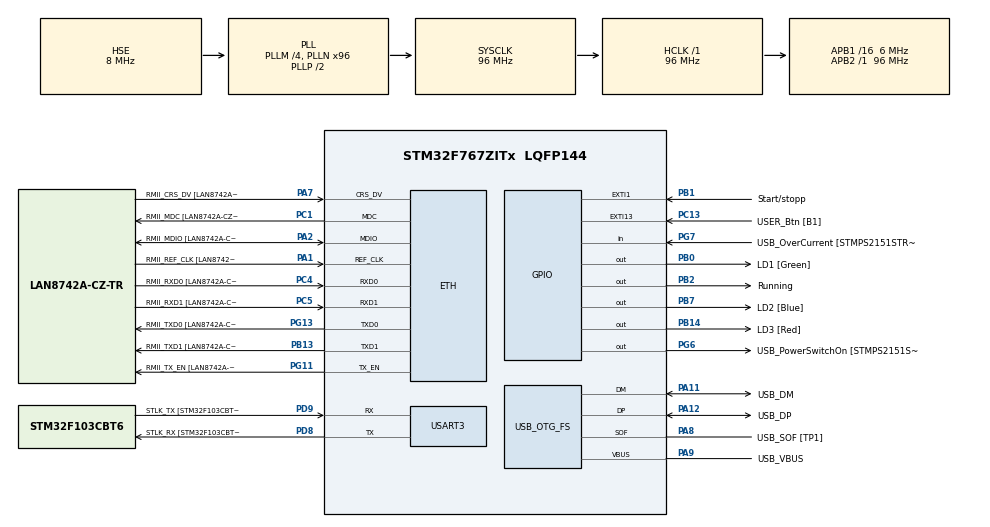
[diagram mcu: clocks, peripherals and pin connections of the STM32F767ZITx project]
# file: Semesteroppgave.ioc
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ETH.MediaInterface=HAL_ETH_RMII_MODE
ETH.PHY_Name=LAN8742A_PHY_ADDRESS
ETH.PHY_Value=0
ETH.PhyAddress=0
Mcu.Family=STM32F7
Mcu.Name=STM32F767ZITx
Mcu.Package=LQFP144
NVIC.EXTI15_10_IRQn=true\:0\:0\:false\:false\:true\:true\:true\:true
NVIC.EXTI1_IRQn=true\:0\:0\:false\:false\:true\:true\:true\:true
NVIC.PriorityGroup=NVIC_PRIORITYGROUP_4
NVIC.TIM3_IRQn=true\:0\:0\:false\:false\:true\:true\:true\:true
PA1.GPIO_Label=RMII_REF_CLK [LAN8742A-CZ-TR_REFCLK0]
PA1.Mode=RMII
PA1.Signal=ETH_REF_CLK
PA10.GPIO_Label=USB_ID
PA10.Signal=USB_OTG_FS_ID
PA11.GPIO_Label=USB_DM
PA11.Mode=Device_Only
PA11.Signal=USB_OTG_FS_DM
PA12.GPIO_Label=USB_DP
PA12.Mode=Device_Only
PA12.Signal=USB_OTG_FS_DP
PA13.GPIO_Label=TMS
PA13.Mode=Serial_Wire
PA13.Signal=SYS_JTMS-SWDIO
PA14.GPIO_Label=TCK
PA14.Mode=Serial_Wire
PA14.Signal=SYS_JTCK-SWCLK
PA2.GPIO_Label=RMII_MDIO [LAN8742A-CZ-TR_MDIO]
PA2.Mode=RMII
PA2.Signal=ETH_MDIO
PA7.GPIO_Label=RMII_CRS_DV [LAN8742A-CZ-TR_CRS_DV]
PA7.Mode=RMII
PA7.Signal=ETH_CRS_DV
PA8.GPIO_Label=USB_SOF [TP1]
PA8.Mode=Activate_SOF_FS
PA8.Signal=USB_OTG_FS_SOF
PA9.GPIO_Label=USB_VBUS
PA9.Mode=Activate_VBUS
PA9.Signal=USB_OTG_FS_VBUS
PB0.GPIO_Label=LD1 [Green]
PB0.Signal=GPIO_Output
PB1.GPIO_Label=Start/stopp
PB1.GPIO_ModeDefaultEXTI=GPIO_MODE_IT_RISING
PB1.GPIO_PuPd=GPIO_PULLDOWN
PB1.Signal=GPXTI1
PB13.GPIO_Label=RMII_TXD1 [LAN8742A-CZ-TR_TXD1]
PB13.Mode=RMII
PB13.Signal=ETH_TXD1
PB14.GPIO_Label=LD3 [Red]
PB14.Signal=GPIO_Output
PB2.GPIO_Label=Running
PB2.Signal=GPIO_Output
PB3.GPIO_Label=SWO
PB3.Signal=SYS_JTDO-SWO
PB7.GPIO_Label=LD2 [Blue]
PB7.Signal=GPIO_Output
PC1.GPIO_Label=RMII_MDC [LAN8742A-CZ-TR_MDC]
PC1.Mode=RMII
PC1.Signal=ETH_MDC
PC13.GPIO_Label=USER_Btn [B1]
PC13.Signal=GPXTI13
PC14/OSC32_IN.Mode=LSE-External-Oscillator
PC14/OSC32_IN.Signal=RCC_OSC32_IN
PC15/OSC32_OUT.Mode=LSE-External-Oscillator
PC15/OSC32_OUT.Signal=RCC_OSC32_OUT
PC4.GPIO_Label=RMII_RXD0 [LAN8742A-CZ-TR_RXD0]
PC4.Mode=RMII
PC4.Signal=ETH_RXD0
PC5.GPIO_Label=RMII_RXD1 [LAN8742A-CZ-TR_RXD1]
PC5.Mode=RMII
PC5.Signal=ETH_RXD1
PD8.GPIO_Label=STLK_RX [STM32F103CBT6_PA3]
PD8.Mode=Asynchronous
PD8.Signal=USART3_TX
PD9.GPIO_Label=STLK_TX [STM32F103CBT6_PA2]
PD9.Mode=Asynchronous
PD9.Signal=USART3_RX
PG11.GPIO_Label=RMII_TX_EN [LAN8742A-CZ-TR_TXEN]
PG11.Mode=RMII
PG11.Signal=ETH_TX_EN
PG13.GPIO_Label=RMII_TXD0 [LAN8742A-CZ-TR_TXD0]
PG13.Mode=RMII
PG13.Signal=ETH_TXD0
PG6.GPIO_Label=USB_PowerSwitchOn [STMPS2151STR_EN]
PG6.Signal=GPIO_Output
PG7.GPIO_Label=USB_OverCurrent [STMPS2151STR_FAULT]
PG7.Signal=GPIO_Input
PH0/OSC_IN.GPIO_Label=MCO [STM32F103CBT6_PA8]
PH0/OSC_IN.Mode=HSE-External-Clock-Source
PH0/OSC_IN.Signal=RCC_OSC_IN
PH1/OSC_OUT.Mode=HSE-External-Clock-Source
PH1/OSC_OUT.Signal=RCC_OSC_OUT
ProjectManager.HeapSize=0x200
ProjectManager.StackSize=0x400
ProjectManager.TargetToolchain=STM32CubeIDE
RCC.48MHZClocksFreq_Value=24000000
RCC.AHBFreq_Value=96000000
RCC.APB1CLKDivider=RCC_HCLK_DIV16
RCC.APB1Freq_Value=6000000
RCC.APB1TimFreq_Value=12000000
RCC.APB2Freq_Value=96000000
RCC.APB2TimFreq_Value=96000000
RCC.CortexFreq_Value=96000000
RCC.HCLKFreq_Value=96000000
RCC.HSE_VALUE=8000000
RCC.HSI_VALUE=16000000
RCC.PLLM=4
RCC.PLLMUL=RCC_PLL_MUL9
RCC.PLLN=96
RCC.PLLQ=4
RCC.PRESCALERUSB=RCC_USBCLKSOURCE_PLL_DIV1_5
RCC.SYSCLKFreq_VALUE=96000000
RCC.SYSCLKSource=RCC_SYSCLKSOURCE_PLLCLK
RCC.SYSCLKSourceVirtual=RCC_SYSCLKSOURCE_PLLCLK
RCC.USBFreq_Value=48000000
RCC.VCOOutputFreq_Value=192000000
TIM3.Period=59999
TIM3.Prescaler=10799
USART3.VirtualMode-Asynchronous=VM_ASYNC
USB_OTG_FS.VirtualMode=Device_Only
VP_TIM3_VS_ClockSourceINT.Mode=Internal
board=NUCLEO-F767ZI

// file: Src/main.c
/* USER CODE BEGIN Header */
/**
 ******************************************************************************
 * @file           : main.c
 * @brief          : Main program body
 ******************************************************************************
 * @attention
 *
 * Copyright (c) 2025 STMicroelectronics.
 * All rights reserved.
 *
 * This software is licensed under terms that can be found in the LICENSE file
 * in the root directory of this software component.
 * If no LICENSE file comes with this software, it is provided AS-IS.
 *
 ******************************************************************************
 */
/* USER CODE END Header */
#include "main.h"
#include "string.h"

#if defined(__ICCARM__) /*!< IAR Compiler */
#pragma location = 0x2007c000
ETH_DMADescTypeDef DMARxDscrTab[ETH_RX_DESC_CNT]; /* Ethernet Rx DMA Descriptors */
#pragma location = 0x2007c0a0
ETH_DMADescTypeDef DMATxDscrTab[ETH_TX_DESC_CNT]; /* Ethernet Tx DMA Descriptors */

#elif defined(__CC_ARM) /* MDK ARM Compiler */

__attribute__((at(0x2007c000))) ETH_DMADescTypeDef DMARxDscrTab[ETH_RX_DESC_CNT]; /* Ethernet Rx DMA Descriptors */
__attribute__((at(0x2007c0a0))) ETH_DMADescTypeDef DMATxDscrTab[ETH_TX_DESC_CNT]; /* Ethernet Tx DMA Descriptors */

#elif defined(__GNUC__) /* GNU Compiler */

ETH_DMADescTypeDef DMARxDscrTab[ETH_RX_DESC_CNT] __attribute__((section(".RxDecripSection"))); /* Ethernet Rx DMA Descriptors */
ETH_DMADescTypeDef DMATxDscrTab[ETH_TX_DESC_CNT] __attribute__((section(".TxDecripSection"))); /* Ethernet Tx DMA Descriptors */
#endif

ETH_TxPacketConfig TxConfig;

ETH_HandleTypeDef heth;

TIM_HandleTypeDef htim3;

UART_HandleTypeDef huart3;

PCD_HandleTypeDef hpcd_USB_OTG_FS;

/* USER CODE BEGIN PV */

volatile uint32_t start_tid;
volatile uint32_t stopp_tid;
volatile int stopp_sekvens;
volatile int Web_status;
volatile uint32_t elapsed = 0;
volatile uint32_t slutt_tid = 0;

/* USER CODE END PV */

void SystemClock_Config(void);
static void MX_GPIO_Init(void);
static void MX_ETH_Init(void);
static void MX_USART3_UART_Init(void);
static void MX_USB_OTG_FS_PCD_Init(void);
static void MX_TIM3_Init(void);

int main(void)
{

  /* MCU Configuration--------------------------------------------------------*/

  /* Reset of all peripherals, Initializes the Flash interface and the Systick. */
  HAL_Init();

  /* Configure the system clock */
  SystemClock_Config();

  /* Initialize all configured peripherals */
  MX_GPIO_Init();
  MX_ETH_Init();
  MX_USART3_UART_Init();
  MX_USB_OTG_FS_PCD_Init();
  MX_TIM3_Init();
  /* USER CODE BEGIN 2 */
  // Start timer 3
  HAL_TIM_Base_Start_IT(&htim3);
  /* USER CODE END 2 */

  /* Infinite loop */
  /* USER CODE BEGIN WHILE */
  while (1)
  {
    // Print to UART
    char buffer[200];
    snprintf(buffer, sizeof(buffer),
             "Press Button to start \r\n\r\n");
    HAL_UART_Transmit(&huart3, (uint8_t *)buffer, strlen(buffer), HAL_MAX_DELAY);
    Web_status = 1;
    stopp_sekvens = 0;

    while (1)
    {

      if (HAL_GPIO_ReadPin(GPIOB, Running_Pin) == GPIO_PIN_SET)
      {
        // Print to UART
        // Compute and print elapsed time (for debugging)
        // HER PLEIDE DELAY Å VÆRE PÅ BUNNEN: FORKLAR HVORFOR DETTE ER DUST.
        // HAL Delay bør være 2ms lavere enn hva man ønsker å sende ut. Jeg mistenker at det er forsinkelse i sendingen til UART. Dermed er 98ms = 100ms. 8ms = 10ms
        HAL_Delay(98);
        if (stopp_sekvens == 1)
        {
          break;
        }
        elapsed = HAL_GetTick() - start_tid;
        char buffer[200];
        snprintf(buffer, sizeof(buffer),
                 "Elapsed time %d \r\n",
                 elapsed);
        HAL_UART_Transmit(&huart3, (uint8_t *)buffer, strlen(buffer), HAL_MAX_DELAY);
      }
    }
    /* USER CODE END WHILE */
  }
}

void SystemClock_Config(void)
{
  RCC_OscInitTypeDef RCC_OscInitStruct = {0};
  RCC_ClkInitTypeDef RCC_ClkInitStruct = {0};

  /** Configure LSE Drive Capability
   */
  HAL_PWR_EnableBkUpAccess();

  /** Configure the main internal regulator output voltage
   */
  __HAL_RCC_PWR_CLK_ENABLE();
  __HAL_PWR_VOLTAGESCALING_CONFIG(PWR_REGULATOR_VOLTAGE_SCALE3);

  /** Initializes the RCC Oscillators according to the specified parameters
   * in the RCC_OscInitTypeDef structure.
   */
  RCC_OscInitStruct.OscillatorType = RCC_OSCILLATORTYPE_HSE;
  RCC_OscInitStruct.HSEState = RCC_HSE_BYPASS;
  RCC_OscInitStruct.PLL.PLLState = RCC_PLL_ON;
  RCC_OscInitStruct.PLL.PLLSource = RCC_PLLSOURCE_HSE;
  RCC_OscInitStruct.PLL.PLLM = 4;
  RCC_OscInitStruct.PLL.PLLN = 96;
  RCC_OscInitStruct.PLL.PLLP = RCC_PLLP_DIV2;
  RCC_OscInitStruct.PLL.PLLQ = 4;
  RCC_OscInitStruct.PLL.PLLR = 2;
  if (HAL_RCC_OscConfig(&RCC_OscInitStruct) != HAL_OK)
  {
    Error_Handler();
  }

  /** Activate the Over-Drive mode
   */
  if (HAL_PWREx_EnableOverDrive() != HAL_OK)
  {
    Error_Handler();
  }

  /** Initializes the CPU, AHB and APB buses clocks
   */
  RCC_ClkInitStruct.ClockType = RCC_CLOCKTYPE_HCLK | RCC_CLOCKTYPE_SYSCLK | RCC_CLOCKTYPE_PCLK1 | RCC_CLOCKTYPE_PCLK2;
  RCC_ClkInitStruct.SYSCLKSource = RCC_SYSCLKSOURCE_PLLCLK;
  RCC_ClkInitStruct.AHBCLKDivider = RCC_SYSCLK_DIV1;
  RCC_ClkInitStruct.APB1CLKDivider = RCC_HCLK_DIV16;
  RCC_ClkInitStruct.APB2CLKDivider = RCC_HCLK_DIV1;

  if (HAL_RCC_ClockConfig(&RCC_ClkInitStruct, FLASH_LATENCY_3) != HAL_OK)
  {
    Error_Handler();
  }
}

static void MX_ETH_Init(void)
{

  static uint8_t MACAddr[6];

  heth.Instance = ETH;
  MACAddr[0] = 0x00;
  MACAddr[1] = 0x80;
  MACAddr[2] = 0xE1;
  MACAddr[3] = 0x00;
  MACAddr[4] = 0x00;
  MACAddr[5] = 0x00;
  heth.Init.MACAddr = &MACAddr[0];
  heth.Init.MediaInterface = HAL_ETH_RMII_MODE;
  heth.Init.TxDesc = DMATxDscrTab;
  heth.Init.RxDesc = DMARxDscrTab;
  heth.Init.RxBuffLen = 1524;

  if (HAL_ETH_Init(&heth) != HAL_OK)
  {
    Error_Handler();
  }

  memset(&TxConfig, 0, sizeof(ETH_TxPacketConfig));
  TxConfig.Attributes = ETH_TX_PACKETS_FEATURES_CSUM | ETH_TX_PACKETS_FEATURES_CRCPAD;
  TxConfig.ChecksumCtrl = ETH_CHECKSUM_IPHDR_PAYLOAD_INSERT_PHDR_CALC;
  TxConfig.CRCPadCtrl = ETH_CRC_PAD_INSERT;
}

static void MX_TIM3_Init(void)
{

  TIM_ClockConfigTypeDef sClockSourceConfig = {0};
  TIM_MasterConfigTypeDef sMasterConfig = {0};

  htim3.Instance = TIM3;
  htim3.Init.Prescaler = 10985;
  htim3.Init.CounterMode = TIM_COUNTERMODE_UP;
  htim3.Init.Period = 65535;
  htim3.Init.ClockDivision = TIM_CLOCKDIVISION_DIV1;
  htim3.Init.AutoReloadPreload = TIM_AUTORELOAD_PRELOAD_DISABLE;
  if (HAL_TIM_Base_Init(&htim3) != HAL_OK)
  {
    Error_Handler();
  }
  sClockSourceConfig.ClockSource = TIM_CLOCKSOURCE_INTERNAL;
  if (HAL_TIM_ConfigClockSource(&htim3, &sClockSourceConfig) != HAL_OK)
  {
    Error_Handler();
  }
  sMasterConfig.MasterOutputTrigger = TIM_TRGO_RESET;
  sMasterConfig.MasterSlaveMode = TIM_MASTERSLAVEMODE_DISABLE;
  if (HAL_TIMEx_MasterConfigSynchronization(&htim3, &sMasterConfig) != HAL_OK)
  {
    Error_Handler();
  }
}

static void MX_USART3_UART_Init(void)
{

  huart3.Instance = USART3;
  huart3.Init.BaudRate = 115200;
  huart3.Init.WordLength = UART_WORDLENGTH_8B;
  huart3.Init.StopBits = UART_STOPBITS_1;
  huart3.Init.Parity = UART_PARITY_NONE;
  huart3.Init.Mode = UART_MODE_TX_RX;
  huart3.Init.HwFlowCtl = UART_HWCONTROL_NONE;
  huart3.Init.OverSampling = UART_OVERSAMPLING_16;
  huart3.Init.OneBitSampling = UART_ONE_BIT_SAMPLE_DISABLE;
  huart3.AdvancedInit.AdvFeatureInit = UART_ADVFEATURE_NO_INIT;
  if (HAL_UART_Init(&huart3) != HAL_OK)
  {
    Error_Handler();
  }
}

static void MX_USB_OTG_FS_PCD_Init(void)
{

  hpcd_USB_OTG_FS.Instance = USB_OTG_FS;
  hpcd_USB_OTG_FS.Init.dev_endpoints = 6;
  hpcd_USB_OTG_FS.Init.speed = PCD_SPEED_FULL;
  hpcd_USB_OTG_FS.Init.dma_enable = DISABLE;
  hpcd_USB_OTG_FS.Init.phy_itface = PCD_PHY_EMBEDDED;
  hpcd_USB_OTG_FS.Init.Sof_enable = ENABLE;
  hpcd_USB_OTG_FS.Init.low_power_enable = DISABLE;
  hpcd_USB_OTG_FS.Init.lpm_enable = DISABLE;
  hpcd_USB_OTG_FS.Init.vbus_sensing_enable = ENABLE;
  hpcd_USB_OTG_FS.Init.use_dedicated_ep1 = DISABLE;
  if (HAL_PCD_Init(&hpcd_USB_OTG_FS) != HAL_OK)
  {
    Error_Handler();
  }
}

static void MX_GPIO_Init(void)
{
  GPIO_InitTypeDef GPIO_InitStruct = {0};

  /* GPIO Ports Clock Enable */
  __HAL_RCC_GPIOC_CLK_ENABLE();
  __HAL_RCC_GPIOH_CLK_ENABLE();
  __HAL_RCC_GPIOA_CLK_ENABLE();
  __HAL_RCC_GPIOB_CLK_ENABLE();
  __HAL_RCC_GPIOD_CLK_ENABLE();
  __HAL_RCC_GPIOG_CLK_ENABLE();

  /*Configure GPIO pin Output Level */
  HAL_GPIO_WritePin(GPIOB, LD1_Pin | Running_Pin | LD3_Pin | LD2_Pin, GPIO_PIN_RESET);

  /*Configure GPIO pin Output Level */
  HAL_GPIO_WritePin(USB_PowerSwitchOn_GPIO_Port, USB_PowerSwitchOn_Pin, GPIO_PIN_RESET);

  /*Configure GPIO pin : USER_Btn_Pin */
  GPIO_InitStruct.Pin = USER_Btn_Pin;
  GPIO_InitStruct.Mode = GPIO_MODE_IT_RISING;
  GPIO_InitStruct.Pull = GPIO_NOPULL;
  HAL_GPIO_Init(USER_Btn_GPIO_Port, &GPIO_InitStruct);

  /*Configure GPIO pins : LD1_Pin Running_Pin LD3_Pin LD2_Pin */
  GPIO_InitStruct.Pin = LD1_Pin | Running_Pin | LD3_Pin | LD2_Pin;
  GPIO_InitStruct.Mode = GPIO_MODE_OUTPUT_PP;
  GPIO_InitStruct.Pull = GPIO_NOPULL;
  GPIO_InitStruct.Speed = GPIO_SPEED_FREQ_LOW;
  HAL_GPIO_Init(GPIOB, &GPIO_InitStruct);

  /*Configure GPIO pin : Start_stopp_Pin */
  GPIO_InitStruct.Pin = Start_stopp_Pin;
  GPIO_InitStruct.Mode = GPIO_MODE_IT_RISING;
  GPIO_InitStruct.Pull = GPIO_PULLDOWN;
  HAL_GPIO_Init(Start_stopp_GPIO_Port, &GPIO_InitStruct);

  /*Configure GPIO pin : USB_PowerSwitchOn_Pin */
  GPIO_InitStruct.Pin = USB_PowerSwitchOn_Pin;
  GPIO_InitStruct.Mode = GPIO_MODE_OUTPUT_PP;
  GPIO_InitStruct.Pull = GPIO_NOPULL;
  GPIO_InitStruct.Speed = GPIO_SPEED_FREQ_LOW;
  HAL_GPIO_Init(USB_PowerSwitchOn_GPIO_Port, &GPIO_InitStruct);

  /*Configure GPIO pin : USB_OverCurrent_Pin */
  GPIO_InitStruct.Pin = USB_OverCurrent_Pin;
  GPIO_InitStruct.Mode = GPIO_MODE_INPUT;
  GPIO_InitStruct.Pull = GPIO_NOPULL;
  HAL_GPIO_Init(USB_OverCurrent_GPIO_Port, &GPIO_InitStruct);

  /* EXTI interrupt init*/
  HAL_NVIC_SetPriority(EXTI1_IRQn, 0, 0);
  HAL_NVIC_EnableIRQ(EXTI1_IRQn);

  HAL_NVIC_SetPriority(EXTI15_10_IRQn, 0, 0);
  HAL_NVIC_EnableIRQ(EXTI15_10_IRQn);

}

/* USER CODE BEGIN 4 */
void HAL_TIM_PeriodElapsedCallback(TIM_HandleTypeDef *htim)
{
  if (Web_status == 1)
  {
    // Print to UART
    char buffer[200];
    snprintf(buffer, sizeof(buffer),
             "\r\n"
             "Web_Status \r\n"
             "Press button to start \r\n"
             "Last completed time was %d \r\n\r\n",
             slutt_tid);
    HAL_UART_Transmit(&huart3, (uint8_t *)buffer, strlen(buffer), HAL_MAX_DELAY);
  }
  if (Web_status == 2)
  {
    // Print to UART
    char buffer[200];
    snprintf(buffer, sizeof(buffer),
             "\r\n"
             "Web_Status \r\n"
             "Counting \r\n"
             "Current time is:  %d \r\n\r\n",
             elapsed);
    HAL_UART_Transmit(&huart3, (uint8_t *)buffer, strlen(buffer), HAL_MAX_DELAY);
  }
}

void HAL_GPIO_EXTI_Callback(uint16_t GPIO_Pin)
{
  // forhindrer at man får uønskede rising edges)
  static uint32_t last_interrupt_time = 0;
  if (HAL_GetTick() - last_interrupt_time < 200)
    return;
  last_interrupt_time = HAL_GetTick();

  if (GPIO_Pin == GPIO_PIN_1)
  {
    if (HAL_GPIO_ReadPin(GPIOB, Running_Pin) == GPIO_PIN_RESET)
    {
      // Turn LED ON
      HAL_GPIO_WritePin(GPIOB, Running_Pin, GPIO_PIN_SET);
      Web_status = 2;
      start_tid = HAL_GetTick();
      // Print to UART
      char buffer[200];
      snprintf(buffer, sizeof(buffer),
               "Counting... Press button to stop \r\n");
      HAL_UART_Transmit(&huart3, (uint8_t *)buffer, strlen(buffer), HAL_MAX_DELAY);
    }
    else
    {
      // Turn LED OFF
      HAL_GPIO_WritePin(GPIOB, Running_Pin, GPIO_PIN_RESET);
      stopp_tid = HAL_GetTick();
      stopp_sekvens = 1;
      slutt_tid = stopp_tid - start_tid;
      char buffer[200];
      snprintf(buffer, sizeof(buffer),
               "Total elapsed time is: %d \r\n\r\n",
               slutt_tid);
      HAL_UART_Transmit(&huart3, (uint8_t *)buffer, strlen(buffer), HAL_MAX_DELAY);
    }
  }
}
/* USER CODE END 4 */

void Error_Handler(void)
{
  __disable_irq();
  while (1)
  {
  }
}
